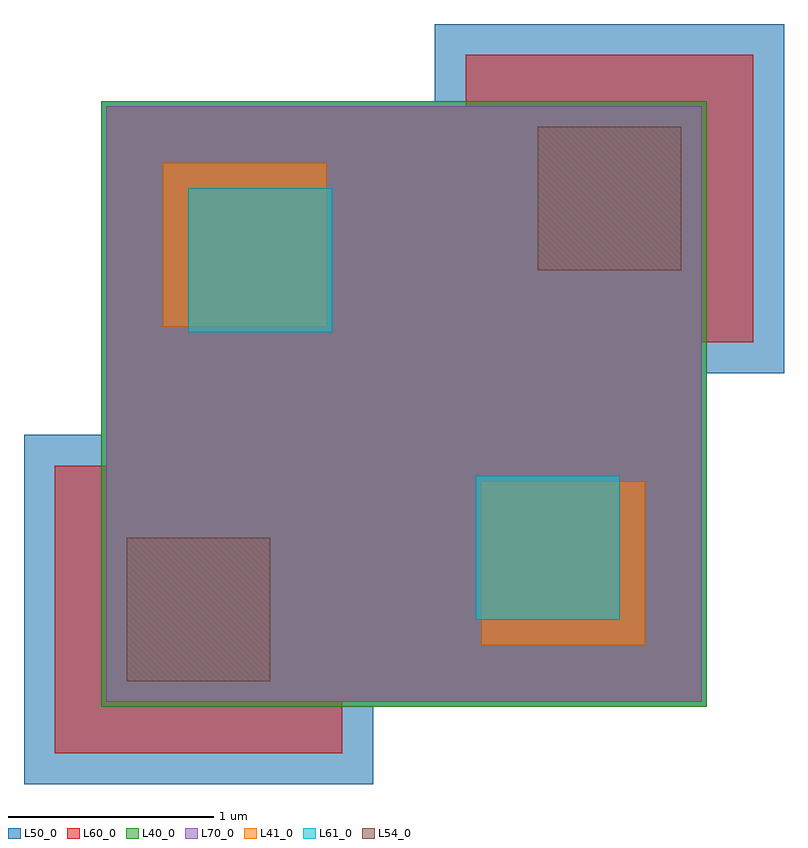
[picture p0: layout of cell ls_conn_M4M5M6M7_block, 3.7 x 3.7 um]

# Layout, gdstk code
import gdstk
lib = gdstk.Library(unit=1e-6, precision=1e-09)
def R(c, l, rs):  # rectangles x0, y0, x1, y1
    for r in rs: c.add(gdstk.rectangle(r[:2], r[2:], *l))
def P(c, l, *ps):  # polygons
    for p in ps: c.add(gdstk.Polygon(p, *l))
L40_0 = (40, 0)
L41_0 = (41, 0)
L50_0 = (50, 0)
L54_0 = (54, 0)
L60_0 = (60, 0)
L61_0 = (61, 0)
L70_0 = (70, 0)

ls_conn_m4m5m6m7_block = lib.new_cell('ls_conn_M4M5M6M7_block')
R(ls_conn_m4m5m6m7_block, L40_0, [(-1.475,-1.475,1.475,1.475)])
R(ls_conn_m4m5m6m7_block, L41_0, [(0.375,-1.175,1.175,-0.375), (-1.175,0.375,-0.375,1.175)])
P(ls_conn_m4m5m6m7_block, L50_0, [(1.85,1.85),(0.15,1.85),(0.15,1.475),(-1.475,1.475),(-1.475,-0.15),(-1.85,-0.15),(-1.85,-1.85),(-0.15,-1.85),(-0.15,-1.475),(1.475,-1.475),(1.475,0.15),(1.85,0.15)])
R(ls_conn_m4m5m6m7_block, L54_0, [(-1.35,-1.35,-0.65,-0.65), (0.65,0.65,1.35,1.35)])
P(ls_conn_m4m5m6m7_block, L60_0, [(1.7,1.7),(0.3,1.7),(0.3,1.45),(-1.45,1.45),(-1.45,-0.3),(-1.7,-0.3),(-1.7,-1.7),(-0.3,-1.7),(-0.3,-1.45),(1.45,-1.45),(1.45,0.3),(1.7,0.3)])
R(ls_conn_m4m5m6m7_block, L61_0, [(0.35,-1.05,1.05,-0.35), (-1.05,0.35,-0.35,1.05)])
R(ls_conn_m4m5m6m7_block, L70_0, [(-1.45,-1.45,1.45,1.45)])

lib.write_gds('ls_conn_M4M5M6M7_block.gds')
